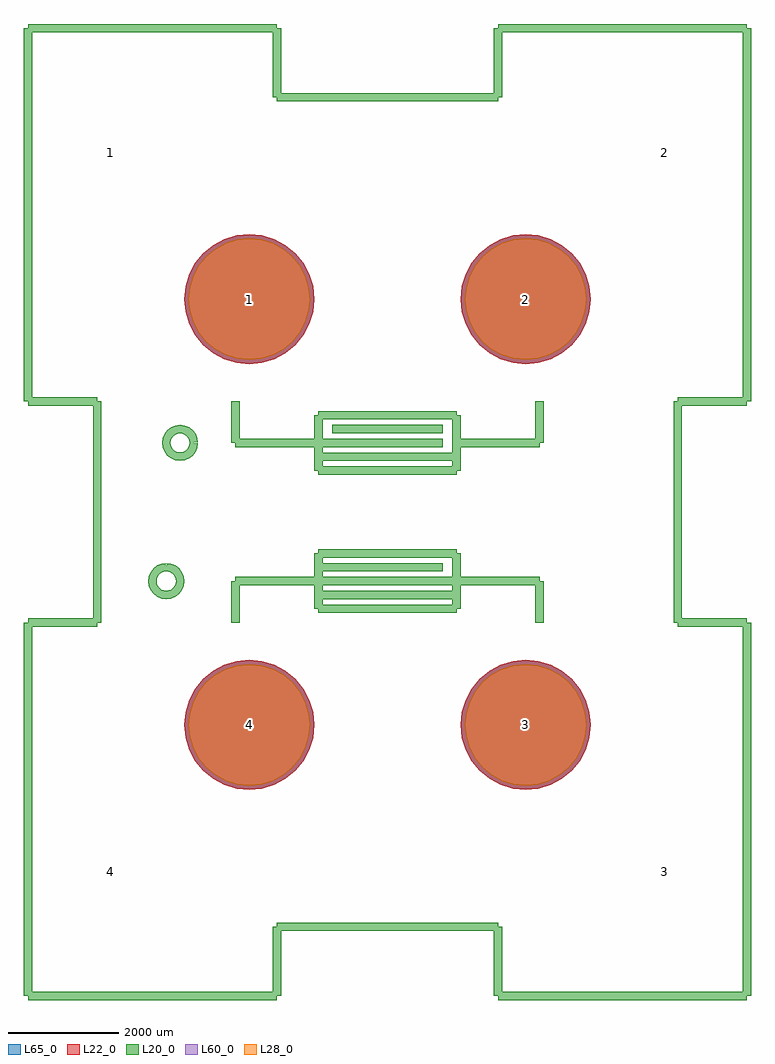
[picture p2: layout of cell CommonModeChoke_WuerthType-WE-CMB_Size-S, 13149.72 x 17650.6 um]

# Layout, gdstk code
import gdstk
lib = gdstk.Library(unit=1e-6, precision=1e-09)
def P(c, l, *ps):  # polygons
    for p in ps: c.add(gdstk.Polygon(p, *l))
L20_0 = (20, 0)
L22_0 = (22, 0)
L28_0 = (28, 0)
L60_0 = (60, 0)
L65_0 = (65, 0)

commonmodechoke_wuerthty = lib.new_cell('CommonModeChoke_WuerthType-WE-CMB_Size-S')
P(commonmodechoke_wuerthty, L22_0, [(-1324.54,3850.64),(-1347.114,4079.836),(-1413.968,4300.224),(-1522.533,4503.335),(-1668.637,4681.363),(-1846.665,4827.467),(-2049.776,4936.032),(-2270.164,5002.886),(-2499.36,5025.46),(-2728.556,5002.886),(-2948.944,4936.032),(-3152.055,4827.467),(-3330.083,4681.363),(-3476.187,4503.335),(-3584.752,4300.224),(-3651.606,4079.836),(-3674.18,3850.64),(-3651.606,3621.444),(-3584.752,3401.056),(-3476.187,3197.945),(-3330.083,3019.917),(-3152.055,2873.813),(-2948.944,2765.248),(-2728.556,2698.394),(-2499.36,2675.82),(-2270.164,2698.394),(-2049.776,2765.248),(-1846.665,2873.813),(-1668.637,3019.917),(-1522.533,3197.945),(-1413.968,3401.056),(-1347.114,3621.444)],
  [(3674.18,3850.64),(3651.606,4079.836),(3584.752,4300.224),(3476.187,4503.335),(3330.083,4681.363),(3152.055,4827.467),(2948.944,4936.032),(2728.556,5002.886),(2499.36,5025.46),(2270.164,5002.886),(2049.776,4936.032),(1846.665,4827.467),(1668.637,4681.363),(1522.533,4503.335),(1413.968,4300.224),(1347.114,4079.836),(1324.54,3850.64),(1347.114,3621.444),(1413.968,3401.056),(1522.533,3197.945),(1668.637,3019.917),(1846.665,2873.813),(2049.776,2765.248),(2270.164,2698.394),(2499.36,2675.82),(2728.556,2698.394),(2948.944,2765.248),(3152.055,2873.813),(3330.083,3019.917),(3476.187,3197.945),(3584.752,3401.056),(3651.606,3621.444)],
  [(3674.18,-3850.64),(3651.606,-3621.444),(3584.752,-3401.056),(3476.187,-3197.945),(3330.083,-3019.917),(3152.055,-2873.813),(2948.944,-2765.248),(2728.556,-2698.394),(2499.36,-2675.82),(2270.164,-2698.394),(2049.776,-2765.248),(1846.665,-2873.813),(1668.637,-3019.917),(1522.533,-3197.945),(1413.968,-3401.056),(1347.114,-3621.444),(1324.54,-3850.64),(1347.114,-4079.836),(1413.968,-4300.224),(1522.533,-4503.335),(1668.637,-4681.363),(1846.665,-4827.467),(2049.776,-4936.032),(2270.164,-5002.886),(2499.36,-5025.46),(2728.556,-5002.886),(2948.944,-4936.032),(3152.055,-4827.467),(3330.083,-4681.363),(3476.187,-4503.335),(3584.752,-4300.224),(3651.606,-4079.836)],
  [(-1324.54,-3850.64),(-1347.114,-3621.444),(-1413.968,-3401.056),(-1522.533,-3197.945),(-1668.637,-3019.917),(-1846.665,-2873.813),(-2049.776,-2765.248),(-2270.164,-2698.394),(-2499.36,-2675.82),(-2728.556,-2698.394),(-2948.944,-2765.248),(-3152.055,-2873.813),(-3330.083,-3019.917),(-3476.187,-3197.945),(-3584.752,-3401.056),(-3651.606,-3621.444),(-3674.18,-3850.64),(-3651.606,-4079.836),(-3584.752,-4300.224),(-3476.187,-4503.335),(-3330.083,-4681.363),(-3152.055,-4827.467),(-2948.944,-4936.032),(-2728.556,-5002.886),(-2499.36,-5025.46),(-2270.164,-5002.886),(-2049.776,-4936.032),(-1846.665,-4827.467),(-1668.637,-4681.363),(-1522.533,-4503.335),(-1413.968,-4300.224),(-1347.114,-4079.836)])
P(commonmodechoke_wuerthty, L28_0, [(-1399.54,3850.64),(-1420.673,4065.204),(-1483.259,4271.523),(-1584.893,4461.667),(-1721.67,4628.33),(-1888.333,4765.107),(-2078.477,4866.741),(-2284.796,4929.327),(-2499.36,4950.46),(-2713.924,4929.327),(-2920.243,4866.741),(-3110.387,4765.107),(-3277.05,4628.33),(-3413.827,4461.667),(-3515.461,4271.523),(-3578.047,4065.204),(-3599.18,3850.64),(-3578.047,3636.076),(-3515.461,3429.757),(-3413.827,3239.613),(-3277.05,3072.95),(-3110.387,2936.173),(-2920.243,2834.539),(-2713.924,2771.953),(-2499.36,2750.82),(-2284.796,2771.953),(-2078.477,2834.539),(-1888.333,2936.173),(-1721.67,3072.95),(-1584.893,3239.613),(-1483.259,3429.757),(-1420.673,3636.076)],
  [(3599.18,3850.64),(3578.047,4065.204),(3515.461,4271.523),(3413.827,4461.667),(3277.05,4628.33),(3110.387,4765.107),(2920.243,4866.741),(2713.924,4929.327),(2499.36,4950.46),(2284.796,4929.327),(2078.477,4866.741),(1888.333,4765.107),(1721.67,4628.33),(1584.893,4461.667),(1483.259,4271.523),(1420.673,4065.204),(1399.54,3850.64),(1420.673,3636.076),(1483.259,3429.757),(1584.893,3239.613),(1721.67,3072.95),(1888.333,2936.173),(2078.477,2834.539),(2284.796,2771.953),(2499.36,2750.82),(2713.924,2771.953),(2920.243,2834.539),(3110.387,2936.173),(3277.05,3072.95),(3413.827,3239.613),(3515.461,3429.757),(3578.047,3636.076)],
  [(3599.18,-3850.64),(3578.047,-3636.076),(3515.461,-3429.757),(3413.827,-3239.613),(3277.05,-3072.95),(3110.387,-2936.173),(2920.243,-2834.539),(2713.924,-2771.953),(2499.36,-2750.82),(2284.796,-2771.953),(2078.477,-2834.539),(1888.333,-2936.173),(1721.67,-3072.95),(1584.893,-3239.613),(1483.259,-3429.757),(1420.673,-3636.076),(1399.54,-3850.64),(1420.673,-4065.204),(1483.259,-4271.523),(1584.893,-4461.667),(1721.67,-4628.33),(1888.333,-4765.107),(2078.477,-4866.741),(2284.796,-4929.327),(2499.36,-4950.46),(2713.924,-4929.327),(2920.243,-4866.741),(3110.387,-4765.107),(3277.05,-4628.33),(3413.827,-4461.667),(3515.461,-4271.523),(3578.047,-4065.204)],
  [(-1399.54,-3850.64),(-1420.673,-3636.076),(-1483.259,-3429.757),(-1584.893,-3239.613),(-1721.67,-3072.95),(-1888.333,-2936.173),(-2078.477,-2834.539),(-2284.796,-2771.953),(-2499.36,-2750.82),(-2713.924,-2771.953),(-2920.243,-2834.539),(-3110.387,-2936.173),(-3277.05,-3072.95),(-3413.827,-3239.613),(-3515.461,-3429.757),(-3578.047,-3636.076),(-3599.18,-3850.64),(-3578.047,-4065.204),(-3515.461,-4271.523),(-3413.827,-4461.667),(-3277.05,-4628.33),(-3110.387,-4765.107),(-2920.243,-4866.741),(-2713.924,-4929.327),(-2499.36,-4950.46),(-2284.796,-4929.327),(-2078.477,-4866.741),(-1888.333,-4765.107),(-1721.67,-4628.33),(-1584.893,-4461.667),(-1483.259,-4271.523),(-1420.673,-4065.204)])
P(commonmodechoke_wuerthty, L60_0, [(-1399.54,3850.64),(-1420.673,4065.204),(-1483.259,4271.523),(-1584.893,4461.667),(-1721.67,4628.33),(-1888.333,4765.107),(-2078.477,4866.741),(-2284.796,4929.327),(-2499.36,4950.46),(-2713.924,4929.327),(-2920.243,4866.741),(-3110.387,4765.107),(-3277.05,4628.33),(-3413.827,4461.667),(-3515.461,4271.523),(-3578.047,4065.204),(-3599.18,3850.64),(-3578.047,3636.076),(-3515.461,3429.757),(-3413.827,3239.613),(-3277.05,3072.95),(-3110.387,2936.173),(-2920.243,2834.539),(-2713.924,2771.953),(-2499.36,2750.82),(-2284.796,2771.953),(-2078.477,2834.539),(-1888.333,2936.173),(-1721.67,3072.95),(-1584.893,3239.613),(-1483.259,3429.757),(-1420.673,3636.076)],
  [(3599.18,3850.64),(3578.047,4065.204),(3515.461,4271.523),(3413.827,4461.667),(3277.05,4628.33),(3110.387,4765.107),(2920.243,4866.741),(2713.924,4929.327),(2499.36,4950.46),(2284.796,4929.327),(2078.477,4866.741),(1888.333,4765.107),(1721.67,4628.33),(1584.893,4461.667),(1483.259,4271.523),(1420.673,4065.204),(1399.54,3850.64),(1420.673,3636.076),(1483.259,3429.757),(1584.893,3239.613),(1721.67,3072.95),(1888.333,2936.173),(2078.477,2834.539),(2284.796,2771.953),(2499.36,2750.82),(2713.924,2771.953),(2920.243,2834.539),(3110.387,2936.173),(3277.05,3072.95),(3413.827,3239.613),(3515.461,3429.757),(3578.047,3636.076)],
  [(3599.18,-3850.64),(3578.047,-3636.076),(3515.461,-3429.757),(3413.827,-3239.613),(3277.05,-3072.95),(3110.387,-2936.173),(2920.243,-2834.539),(2713.924,-2771.953),(2499.36,-2750.82),(2284.796,-2771.953),(2078.477,-2834.539),(1888.333,-2936.173),(1721.67,-3072.95),(1584.893,-3239.613),(1483.259,-3429.757),(1420.673,-3636.076),(1399.54,-3850.64),(1420.673,-4065.204),(1483.259,-4271.523),(1584.893,-4461.667),(1721.67,-4628.33),(1888.333,-4765.107),(2078.477,-4866.741),(2284.796,-4929.327),(2499.36,-4950.46),(2713.924,-4929.327),(2920.243,-4866.741),(3110.387,-4765.107),(3277.05,-4628.33),(3413.827,-4461.667),(3515.461,-4271.523),(3578.047,-4065.204)],
  [(-1399.54,-3850.64),(-1420.673,-3636.076),(-1483.259,-3429.757),(-1584.893,-3239.613),(-1721.67,-3072.95),(-1888.333,-2936.173),(-2078.477,-2834.539),(-2284.796,-2771.953),(-2499.36,-2750.82),(-2713.924,-2771.953),(-2920.243,-2834.539),(-3110.387,-2936.173),(-3277.05,-3072.95),(-3413.827,-3239.613),(-3515.461,-3429.757),(-3578.047,-3636.076),(-3599.18,-3850.64),(-3578.047,-4065.204),(-3515.461,-4271.523),(-3413.827,-4461.667),(-3277.05,-4628.33),(-3110.387,-4765.107),(-2920.243,-4866.741),(-2713.924,-4929.327),(-2499.36,-4950.46),(-2284.796,-4929.327),(-2078.477,-4866.741),(-1888.333,-4765.107),(-1721.67,-4628.33),(-1584.893,-4461.667),(-1483.259,-4271.523),(-1420.673,-4065.204)])
P(commonmodechoke_wuerthty, L65_0, [(-1324.54,3850.64),(-1347.114,4079.836),(-1413.968,4300.224),(-1522.533,4503.335),(-1668.637,4681.363),(-1846.665,4827.467),(-2049.776,4936.032),(-2270.164,5002.886),(-2499.36,5025.46),(-2728.556,5002.886),(-2948.944,4936.032),(-3152.055,4827.467),(-3330.083,4681.363),(-3476.187,4503.335),(-3584.752,4300.224),(-3651.606,4079.836),(-3674.18,3850.64),(-3651.606,3621.444),(-3584.752,3401.056),(-3476.187,3197.945),(-3330.083,3019.917),(-3152.055,2873.813),(-2948.944,2765.248),(-2728.556,2698.394),(-2499.36,2675.82),(-2270.164,2698.394),(-2049.776,2765.248),(-1846.665,2873.813),(-1668.637,3019.917),(-1522.533,3197.945),(-1413.968,3401.056),(-1347.114,3621.444)],
  [(3674.18,3850.64),(3651.606,4079.836),(3584.752,4300.224),(3476.187,4503.335),(3330.083,4681.363),(3152.055,4827.467),(2948.944,4936.032),(2728.556,5002.886),(2499.36,5025.46),(2270.164,5002.886),(2049.776,4936.032),(1846.665,4827.467),(1668.637,4681.363),(1522.533,4503.335),(1413.968,4300.224),(1347.114,4079.836),(1324.54,3850.64),(1347.114,3621.444),(1413.968,3401.056),(1522.533,3197.945),(1668.637,3019.917),(1846.665,2873.813),(2049.776,2765.248),(2270.164,2698.394),(2499.36,2675.82),(2728.556,2698.394),(2948.944,2765.248),(3152.055,2873.813),(3330.083,3019.917),(3476.187,3197.945),(3584.752,3401.056),(3651.606,3621.444)],
  [(3674.18,-3850.64),(3651.606,-3621.444),(3584.752,-3401.056),(3476.187,-3197.945),(3330.083,-3019.917),(3152.055,-2873.813),(2948.944,-2765.248),(2728.556,-2698.394),(2499.36,-2675.82),(2270.164,-2698.394),(2049.776,-2765.248),(1846.665,-2873.813),(1668.637,-3019.917),(1522.533,-3197.945),(1413.968,-3401.056),(1347.114,-3621.444),(1324.54,-3850.64),(1347.114,-4079.836),(1413.968,-4300.224),(1522.533,-4503.335),(1668.637,-4681.363),(1846.665,-4827.467),(2049.776,-4936.032),(2270.164,-5002.886),(2499.36,-5025.46),(2728.556,-5002.886),(2948.944,-4936.032),(3152.055,-4827.467),(3330.083,-4681.363),(3476.187,-4503.335),(3584.752,-4300.224),(3651.606,-4079.836)],
  [(-1324.54,-3850.64),(-1347.114,-3621.444),(-1413.968,-3401.056),(-1522.533,-3197.945),(-1668.637,-3019.917),(-1846.665,-2873.813),(-2049.776,-2765.248),(-2270.164,-2698.394),(-2499.36,-2675.82),(-2728.556,-2698.394),(-2948.944,-2765.248),(-3152.055,-2873.813),(-3330.083,-3019.917),(-3476.187,-3197.945),(-3584.752,-3401.056),(-3651.606,-3621.444),(-3674.18,-3850.64),(-3651.606,-4079.836),(-3584.752,-4300.224),(-3476.187,-4503.335),(-3330.083,-4681.363),(-3152.055,-4827.467),(-2948.944,-4936.032),(-2728.556,-5002.886),(-2499.36,-5025.46),(-2270.164,-5002.886),(-2049.776,-4936.032),(-1846.665,-4827.467),(-1668.637,-4681.363),(-1522.533,-4503.335),(-1413.968,-4300.224),(-1347.114,-4079.836)])
commonmodechoke_wuerthty.add(gdstk.FlexPath([(-3502.66,1249.68),(-3511.142,1314.105),(-3536.009,1374.14),(-3575.567,1425.693),(-3627.12,1465.251),(-3687.155,1490.118),(-3751.58,1498.6),(-3816.005,1490.118),(-3876.04,1465.251),(-3927.593,1425.693),(-3967.151,1374.14),(-3992.018,1314.105),(-4000.5,1249.68),(-3992.018,1185.255),(-3967.151,1125.22),(-3927.593,1073.667),(-3876.04,1034.109),(-3816.005,1009.242),(-3751.58,1000.76),(-3687.155,1009.242),(-3627.12,1034.109),(-3575.567,1073.667),(-3536.009,1125.22),(-3511.142,1185.255),(-3502.66,1249.68)], 149.998, ends="flush", simple_path=True, layer=20, datatype=0))  # L20_0
commonmodechoke_wuerthty.add(gdstk.FlexPath([(-4000.5,-998.22),(-4065.583,-1006.788),(-4126.23,-1031.909),(-4178.309,-1071.871),(-4218.271,-1123.95),(-4243.392,-1184.597),(-4251.96,-1249.68),(-4243.392,-1314.763),(-4218.271,-1375.41),(-4178.309,-1427.489),(-4126.23,-1467.451),(-4065.583,-1492.572),(-4000.5,-1501.14),(-3935.417,-1492.572),(-3874.77,-1467.451),(-3822.691,-1427.489),(-3782.729,-1375.41),(-3757.608,-1314.763),(-3749.04,-1249.68),(-3757.608,-1184.597),(-3782.729,-1123.95),(-3822.691,-1071.871),(-3874.77,-1031.909),(-3935.417,-1006.788),(-4000.5,-998.22)], 149.998, ends="flush", simple_path=True, layer=20, datatype=0))  # L20_0
commonmodechoke_wuerthty.add(gdstk.FlexPath([(6499.86,1998.98),(6499.86,8750.3)], 149.998, ends="flush", simple_path=True, layer=20, datatype=0))  # L20_0
commonmodechoke_wuerthty.add(gdstk.FlexPath([(5250.18,1998.98),(6499.86,1998.98)], 149.998, ends="flush", simple_path=True, layer=20, datatype=0))  # L20_0
commonmodechoke_wuerthty.add(gdstk.FlexPath([(5250.18,-1998.98),(5250.18,1998.98)], 149.998, ends="flush", simple_path=True, layer=20, datatype=0))  # L20_0
commonmodechoke_wuerthty.add(gdstk.FlexPath([(6499.86,-1998.98),(5250.18,-1998.98)], 149.998, ends="flush", simple_path=True, layer=20, datatype=0))  # L20_0
commonmodechoke_wuerthty.add(gdstk.FlexPath([(6499.86,-8750.3),(6499.86,-1998.98)], 149.998, ends="flush", simple_path=True, layer=20, datatype=0))  # L20_0
commonmodechoke_wuerthty.add(gdstk.FlexPath([(1998.98,-8750.3),(6499.86,-8750.3)], 149.998, ends="flush", simple_path=True, layer=20, datatype=0))  # L20_0
commonmodechoke_wuerthty.add(gdstk.FlexPath([(1998.98,-7500.62),(1998.98,-8750.3)], 149.998, ends="flush", simple_path=True, layer=20, datatype=0))  # L20_0
commonmodechoke_wuerthty.add(gdstk.FlexPath([(-1998.98,-7500.62),(1998.98,-7500.62)], 149.998, ends="flush", simple_path=True, layer=20, datatype=0))  # L20_0
commonmodechoke_wuerthty.add(gdstk.FlexPath([(-1998.98,-8750.3),(-1998.98,-7500.62)], 149.998, ends="flush", simple_path=True, layer=20, datatype=0))  # L20_0
commonmodechoke_wuerthty.add(gdstk.FlexPath([(-6499.86,-8750.3),(-1998.98,-8750.3)], 149.998, ends="flush", simple_path=True, layer=20, datatype=0))  # L20_0
commonmodechoke_wuerthty.add(gdstk.FlexPath([(-6499.86,-1998.98),(-6499.86,-8750.3)], 149.998, ends="flush", simple_path=True, layer=20, datatype=0))  # L20_0
commonmodechoke_wuerthty.add(gdstk.FlexPath([(-5250.18,-1998.98),(-6499.86,-1998.98)], 149.998, ends="flush", simple_path=True, layer=20, datatype=0))  # L20_0
commonmodechoke_wuerthty.add(gdstk.FlexPath([(-5250.18,1998.98),(-5250.18,-1998.98)], 149.998, ends="flush", simple_path=True, layer=20, datatype=0))  # L20_0
commonmodechoke_wuerthty.add(gdstk.FlexPath([(-6499.86,1998.98),(-5250.18,1998.98)], 149.998, ends="flush", simple_path=True, layer=20, datatype=0))  # L20_0
commonmodechoke_wuerthty.add(gdstk.FlexPath([(-6499.86,8750.3),(-6499.86,1998.98)], 149.998, ends="flush", simple_path=True, layer=20, datatype=0))  # L20_0
commonmodechoke_wuerthty.add(gdstk.FlexPath([(-1998.98,8750.3),(-6499.86,8750.3)], 149.998, ends="flush", simple_path=True, layer=20, datatype=0))  # L20_0
commonmodechoke_wuerthty.add(gdstk.FlexPath([(-1998.98,7500.62),(-1998.98,8750.3)], 149.998, ends="flush", simple_path=True, layer=20, datatype=0))  # L20_0
commonmodechoke_wuerthty.add(gdstk.FlexPath([(1998.98,7500.62),(-1998.98,7500.62)], 149.998, ends="flush", simple_path=True, layer=20, datatype=0))  # L20_0
commonmodechoke_wuerthty.add(gdstk.FlexPath([(1998.98,8750.3),(1998.98,7500.62)], 149.998, ends="flush", simple_path=True, layer=20, datatype=0))  # L20_0
commonmodechoke_wuerthty.add(gdstk.FlexPath([(6499.86,8750.3),(1998.98,8750.3)], 149.998, ends="flush", simple_path=True, layer=20, datatype=0))  # L20_0
commonmodechoke_wuerthty.add(gdstk.FlexPath([(0,1750.06),(1249.68,1750.06)], 149.998, ends="flush", simple_path=True, layer=20, datatype=0))  # L20_0
commonmodechoke_wuerthty.add(gdstk.FlexPath([(1249.68,1750.06),(1249.68,749.3)], 149.998, ends="flush", simple_path=True, layer=20, datatype=0))  # L20_0
commonmodechoke_wuerthty.add(gdstk.FlexPath([(-1249.68,1750.06),(0,1750.06)], 149.998, ends="flush", simple_path=True, layer=20, datatype=0))  # L20_0
commonmodechoke_wuerthty.add(gdstk.FlexPath([(-1249.68,749.3),(-1249.68,1750.06)], 149.998, ends="flush", simple_path=True, layer=20, datatype=0))  # L20_0
commonmodechoke_wuerthty.add(gdstk.FlexPath([(1249.68,749.3),(-1249.68,749.3)], 149.998, ends="flush", simple_path=True, layer=20, datatype=0))  # L20_0
commonmodechoke_wuerthty.add(gdstk.FlexPath([(-1249.68,-749.3),(1249.68,-749.3)], 149.998, ends="flush", simple_path=True, layer=20, datatype=0))  # L20_0
commonmodechoke_wuerthty.add(gdstk.FlexPath([(-1249.68,-1750.06),(-1249.68,-749.3)], 149.998, ends="flush", simple_path=True, layer=20, datatype=0))  # L20_0
commonmodechoke_wuerthty.add(gdstk.FlexPath([(1249.68,-1750.06),(-1249.68,-1750.06)], 149.998, ends="flush", simple_path=True, layer=20, datatype=0))  # L20_0
commonmodechoke_wuerthty.add(gdstk.FlexPath([(1249.68,-749.3),(1249.68,-1750.06)], 149.998, ends="flush", simple_path=True, layer=20, datatype=0))  # L20_0
commonmodechoke_wuerthty.add(gdstk.FlexPath([(2750.82,1249.68),(2750.82,1998.98)], 149.998, ends="flush", simple_path=True, layer=20, datatype=0))  # L20_0
commonmodechoke_wuerthty.add(gdstk.FlexPath([(1249.68,1249.68),(2750.82,1249.68)], 149.998, ends="flush", simple_path=True, layer=20, datatype=0))  # L20_0
commonmodechoke_wuerthty.add(gdstk.FlexPath([(2750.82,-1249.68),(2750.82,-1998.98)], 149.998, ends="flush", simple_path=True, layer=20, datatype=0))  # L20_0
commonmodechoke_wuerthty.add(gdstk.FlexPath([(1249.68,-1249.68),(2750.82,-1249.68)], 149.998, ends="flush", simple_path=True, layer=20, datatype=0))  # L20_0
commonmodechoke_wuerthty.add(gdstk.FlexPath([(-2750.82,-1249.68),(-2750.82,-1998.98)], 149.998, ends="flush", simple_path=True, layer=20, datatype=0))  # L20_0
commonmodechoke_wuerthty.add(gdstk.FlexPath([(-1249.68,-1249.68),(-2750.82,-1249.68)], 149.998, ends="flush", simple_path=True, layer=20, datatype=0))  # L20_0
commonmodechoke_wuerthty.add(gdstk.FlexPath([(-2750.82,1249.68),(-2750.82,1998.98)], 149.998, ends="flush", simple_path=True, layer=20, datatype=0))  # L20_0
commonmodechoke_wuerthty.add(gdstk.FlexPath([(-1249.68,1249.68),(-2750.82,1249.68)], 149.998, ends="flush", simple_path=True, layer=20, datatype=0))  # L20_0
commonmodechoke_wuerthty.add(gdstk.FlexPath([(1000.76,1249.68),(-1249.68,1249.68)], 149.998, ends="flush", simple_path=True, layer=20, datatype=0))  # L20_0
commonmodechoke_wuerthty.add(gdstk.FlexPath([(1000.76,1501.14),(-1000.76,1501.14)], 149.998, ends="flush", simple_path=True, layer=20, datatype=0))  # L20_0
commonmodechoke_wuerthty.add(gdstk.FlexPath([(-1249.68,1000.76),(1249.68,1000.76)], 149.998, ends="flush", simple_path=True, layer=20, datatype=0))  # L20_0
commonmodechoke_wuerthty.add(gdstk.FlexPath([(1249.68,-1249.68),(-1249.68,-1249.68)], 149.998, ends="flush", simple_path=True, layer=20, datatype=0))  # L20_0
commonmodechoke_wuerthty.add(gdstk.FlexPath([(-1249.68,-1000.76),(1000.76,-1000.76)], 149.998, ends="flush", simple_path=True, layer=20, datatype=0))  # L20_0
commonmodechoke_wuerthty.add(gdstk.FlexPath([(1249.68,-1501.14),(-1249.68,-1501.14)], 149.998, ends="flush", simple_path=True, layer=20, datatype=0))  # L20_0
commonmodechoke_wuerthty.add(gdstk.Label('1', (-2499.36,3850.64), layer=28, texttype=0))
commonmodechoke_wuerthty.add(gdstk.Label('2', (2499.36,3850.64), layer=28, texttype=0))
commonmodechoke_wuerthty.add(gdstk.Label('3', (2499.36,-3850.64), layer=28, texttype=0))
commonmodechoke_wuerthty.add(gdstk.Label('4', (-2499.36,-3850.64), layer=28, texttype=0))
commonmodechoke_wuerthty.add(gdstk.Label('1', (-5001.26,6499.86), layer=9, texttype=0))
commonmodechoke_wuerthty.add(gdstk.Label('2', (5001.26,6499.86), layer=9, texttype=0))
commonmodechoke_wuerthty.add(gdstk.Label('3', (5001.26,-6499.86), layer=9, texttype=0))
commonmodechoke_wuerthty.add(gdstk.Label('4', (-5001.26,-6499.86), layer=9, texttype=0))
commonmodechoke_wuerthty.add(gdstk.Label('type', (1000.76,-11000.74), layer=9, texttype=0))
commonmodechoke_wuerthty.add(gdstk.Label('devicename', (0,11000.74), layer=9, texttype=0))

lib.write_gds('CommonModeChoke_WuerthType-WE-CMB_Size-S.gds')
